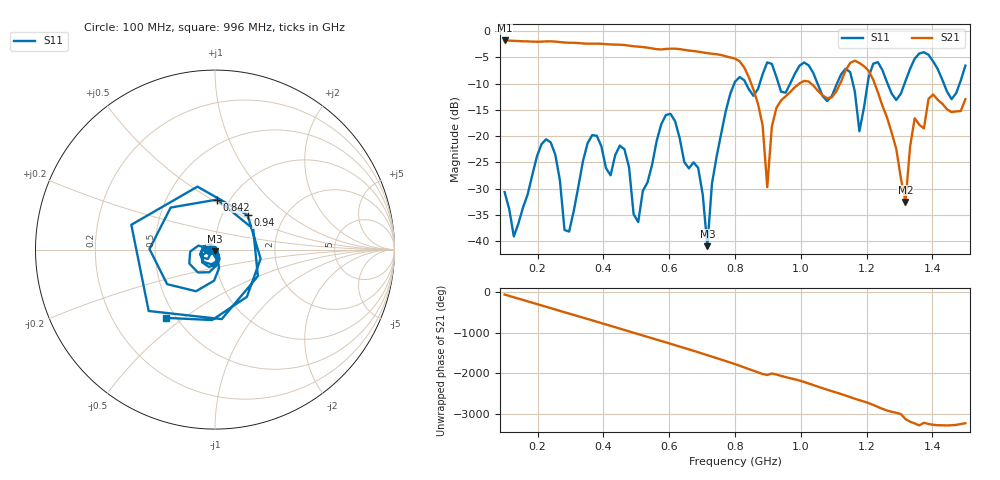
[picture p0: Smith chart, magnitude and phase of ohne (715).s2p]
! NanoVNA-App
! Date: 2025-09-25 14:26:22
! Start: 100MHz Stop: 1,5GHz Points: 101
! S-Parameter data: F S11 S21 S12 S22
# Hz S RI R 50
!  Frequency  S11_Real  S11_Imag  S21_Real  S21_Imag  S12_Real  S12_Imag  S22_Real  S22_Imag
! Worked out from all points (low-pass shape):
!   101 points, 100 MHz to 1.5 GHz, reference 50 ohm
!   highest |S21| = -1.79 dB at 100 MHz (marker M1); lowest = -32.5 dB at 1.318 GHz (marker M2)
!   |S21| within 3 dB of the highest: start of sweep to 771.1 MHz
!   lowest |S11| = -40.9 dB at 716 MHz (marker M3), VSWR 1.02, Z = 49.7 - j0.856 ohm
!   |S11| at or under -10 dB: start of sweep to 797.8 MHz; 833.2 MHz to 875.1 MHz (41.86 MHz wide, 4.9 % of centre); 1.051 GHz to 1.11 GHz (59.23 MHz wide, 5.48 % of centre) (the widest 3 of 7)
!   S12 and S22 are empty: the file has one direction only
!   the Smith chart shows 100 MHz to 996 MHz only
!   S11 on the Smith chart (normalised r, x): 100 MHz: 0.94, -0.01; 842 MHz: 0.88, +0.53; 940 MHz: 1.31, +0.54; 996 MHz: 0.44, -0.43
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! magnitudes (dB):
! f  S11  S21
! 100 MHz  -30.6  -1.8
! 128 MHz  -39.1  -1.9
! 226 MHz  -20.6  -2.0
! 296 MHz  -38.2  -2.2
! 338 MHz  -24.8  -2.4
! 464 MHz  -22.5  -2.7
! 506 MHz  -36.4  -3.0
! 576 MHz  -17.7  -3.5
! 688 MHz  -26.0  -3.9
! 716 MHz  -40.9  -4.2
! 800 MHz  -9.7  -5.2
! 842 MHz  -11.1  -8.8
! 898 MHz  -6.0  -29.7
! 940 MHz  -11.6  -13.2
! 996 MHz  -6.6  -10.0
! 1.038 GHz  -8.0  -10.4
! 1.178 GHz  -19.1  -6.1
! 1.22 GHz  -6.2  -9.3
! 1.276 GHz  -11.9  -19.3
! 1.318 GHz  -9.5  -32.5
! 1.346 GHz  -5.3  -16.6
! 1.5 GHz  -6.6  -13.0
